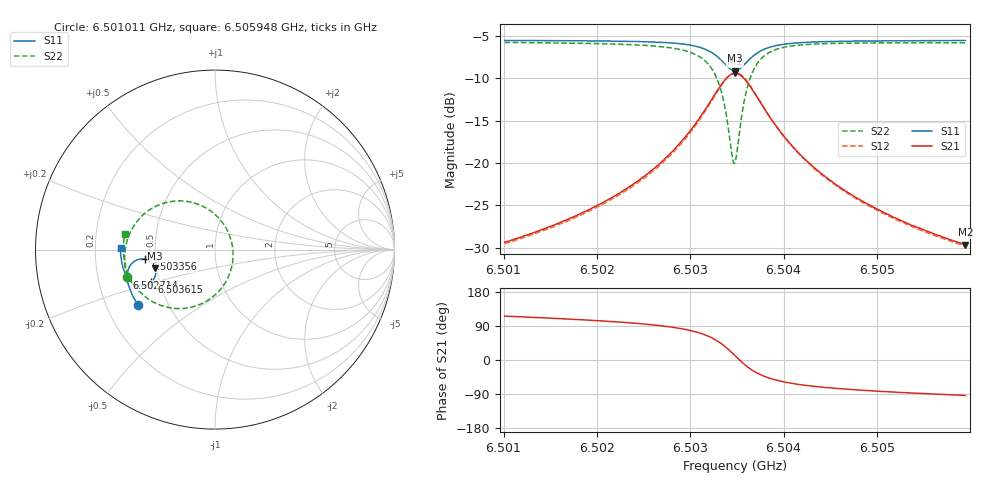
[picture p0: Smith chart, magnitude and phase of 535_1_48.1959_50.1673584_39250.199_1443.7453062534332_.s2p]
#  HZ  S  RI  R  50.00
! Rohde & Schwarz Vector Network Analyzer
! Rohde-Schwarz,ZNB20-2Port,1311601062101988,3.16
! Created: UTC 3/20/2024, 12:00:02 PM
! freq[Hz]  re:S11  im:S11  re:S21  im:S21  re:S12  im:S12  re:S22  im:S22
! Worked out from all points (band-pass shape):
!   401 points, 6.501011 GHz to 6.505948 GHz, reference 50 ohm
!   highest |S21| = -9.44 dB at 6.503479 GHz (marker M1); lowest = -29.6 dB at 6.505948 GHz (marker M2)
!   |S21| within 3 dB of the highest: 6.503233 GHz to 6.503727 GHz (493.9 kHz wide, 0.00759 % of centre)
!   lowest |S11| = -9.1 dB at 6.503479 GHz (marker M3), VSWR 2.08, Z = 24.5 - j5.84 ohm
!   |S11| at or under -10 dB: nowhere
!   |S22| runs from -20.1 to -5.8 dB; largest |S21 - S12| = 0.011
!   S11 on the Smith chart (normalised r, x): 6.501011 GHz: 0.34, -0.29; 6.502714 GHz: 0.33, -0.14; 6.503356 GHz: 0.44, -0.06; 6.503615 GHz: 0.45, -0.19; 6.505948 GHz: 0.31, +0.01
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6.5010108e9  -0.4288 -0.3067  -0.0149 0.0307  -0.0132 0.0308  -0.4911 -0.15
6.5018378e9  -0.464 -0.2449  -0.0142 0.0488  -0.0118 0.0483  -0.5033 -0.0613
6.5022698e9  -0.4792 -0.2065  -0.0114 0.0671  -0.00845 0.066  -0.5003 0.000373
6.5026648e9  -0.4884 -0.1625  -0.00176 0.0984  0.00163 0.096  -0.4794 0.0801
6.5027141e9  -0.4889 -0.156  0.000633 0.1042  0.0042 0.1016  -0.4738 0.0927
6.5029487e9  -0.4856 -0.1191  0.0233 0.1409  0.0269 0.1367  -0.4268 0.1667
6.5031091e9  -0.4712 -0.087  0.0622 0.1768  0.0651 0.1712  -0.3509 0.23
6.5032572e9  -0.4337 -0.0571  0.1435 0.2055  0.1441 0.1996  -0.2034 0.2715
6.503356e9  -0.3873 -0.054  0.2344 0.1894  0.2344 0.1852  -0.046 0.2296
6.5034424e9  -0.3447 -0.0827  0.3127 0.1156  0.3152 0.112  0.079 0.0844
6.5034671e9  -0.3365 -0.0968  0.3262 0.084  0.3295 0.0797  0.0962 0.0249
6.5034794e9  -0.3336 -0.1045  0.3306 0.0671  0.3342 0.0623  0.1002 -0.0064
6.5035041e9  -0.3306 -0.1207  0.3339 0.0329  0.3382 0.0266  0.0981 -0.0695
6.5035411e9  -0.3326 -0.1447  0.3272 -0.0174  0.3309 -0.0255  0.0715 -0.158
6.5036152e9  -0.3545 -0.1818  0.281 -0.0937  0.2814 -0.1048  -0.0374 -0.2814
6.5037263e9  -0.4 -0.202  0.1944 -0.1394  0.1896 -0.1488  -0.2127 -0.3286
6.5038867e9  -0.4471 -0.1926  0.1106 -0.1357  0.1039 -0.1409  -0.3636 -0.2806
6.5040595e9  -0.4752 -0.1713  0.0651 -0.1149  0.059 -0.1173  -0.4372 -0.2144
6.5043064e9  -0.4961 -0.1414  0.0346 -0.0899  0.03 -0.0904  -0.4812 -0.141
6.504652e9  -0.5111 -0.1048  0.016 -0.0672  0.0128 -0.0669  -0.5034 -0.0699
6.5051334e9  -0.5213 -0.0596  0.0051 -0.0492  0.00293 -0.0485  -0.5105 7.88e-05
6.505948e9  -0.5265 0.00954  -0.00202 -0.033  -0.00329 -0.0322  -0.503 0.0874
